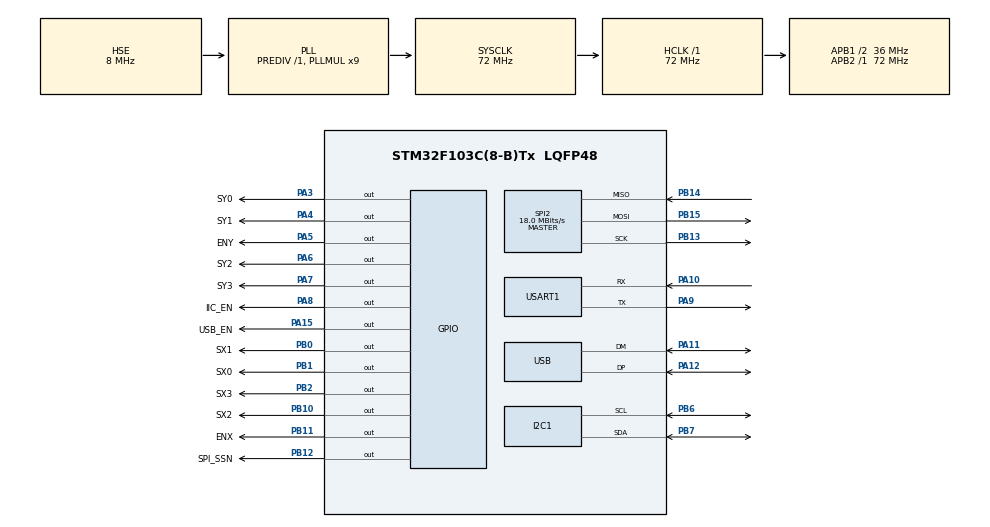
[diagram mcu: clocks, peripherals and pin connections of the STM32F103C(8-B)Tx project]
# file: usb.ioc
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Mcu.Family=STM32F1
Mcu.Name=STM32F103C(8-B)Tx
Mcu.Package=LQFP48
NVIC.PriorityGroup=NVIC_PRIORITYGROUP_4
NVIC.USB_LP_CAN1_RX0_IRQn=true\:0\:0\:false\:false\:true\:false\:true\:true
PA10.Mode=Asynchronous
PA10.Signal=USART1_RX
PA11.Mode=Device
PA11.Signal=USB_DM
PA12.Mode=Device
PA12.Signal=USB_DP
PA13.Mode=Serial_Wire
PA13.Signal=SYS_JTMS-SWDIO
PA14.Mode=Serial_Wire
PA14.Signal=SYS_JTCK-SWCLK
PA15.GPIO_Label=USB_EN
PA15.Signal=GPIO_Output
PA3.GPIO_Label=SY0
PA3.Signal=GPIO_Output
PA4.GPIO_Label=SY1
PA4.Signal=GPIO_Output
PA5.GPIO_Label=ENY
PA5.Signal=GPIO_Output
PA6.GPIO_Label=SY2
PA6.Signal=GPIO_Output
PA7.GPIO_Label=SY3
PA7.Signal=GPIO_Output
PA8.GPIO_Label=IIC_EN
PA8.Signal=GPIO_Output
PA9.Mode=Asynchronous
PA9.Signal=USART1_TX
PB0.GPIO_Label=SX1
PB0.Signal=GPIO_Output
PB1.GPIO_Label=SX0
PB1.Signal=GPIO_Output
PB10.GPIO_Label=SX2
PB10.Signal=GPIO_Output
PB11.GPIO_Label=ENX
PB11.Signal=GPIO_Output
PB12.GPIO_Label=SPI_SSN
PB12.Signal=GPIO_Output
PB13.Mode=Full_Duplex_Master
PB13.Signal=SPI2_SCK
PB14.Mode=Full_Duplex_Master
PB14.Signal=SPI2_MISO
PB15.Mode=Full_Duplex_Master
PB15.Signal=SPI2_MOSI
PB2.GPIO_Label=SX3
PB2.Signal=GPIO_Output
PB6.Mode=I2C
PB6.Signal=I2C1_SCL
PB7.Mode=I2C
PB7.Signal=I2C1_SDA
PD0-OSC_IN.Mode=HSE-External-Oscillator
PD0-OSC_IN.Signal=RCC_OSC_IN
PD1-OSC_OUT.Mode=HSE-External-Oscillator
PD1-OSC_OUT.Signal=RCC_OSC_OUT
ProjectManager.HeapSize=0x200
ProjectManager.StackSize=0x1000
ProjectManager.TargetToolchain=MDK-ARM V5
RCC.AHBFreq_Value=72000000
RCC.APB1CLKDivider=RCC_HCLK_DIV2
RCC.APB1Freq_Value=36000000
RCC.APB1TimFreq_Value=72000000
RCC.APB2Freq_Value=72000000
RCC.APB2TimFreq_Value=72000000
RCC.HCLKFreq_Value=72000000
RCC.PLLMUL=RCC_PLL_MUL9
RCC.SYSCLKFreq_VALUE=72000000
RCC.SYSCLKSource=RCC_SYSCLKSOURCE_PLLCLK
RCC.USBFreq_Value=48000000
RCC.USBPrescaler=RCC_USBCLKSOURCE_PLL_DIV1_5
SPI2.BaudRatePrescaler=SPI_BAUDRATEPRESCALER_2
SPI2.CLKPhase=SPI_PHASE_2EDGE
SPI2.CalculateBaudRate=18.0 MBits/s
SPI2.Direction=SPI_DIRECTION_2LINES
SPI2.Mode=SPI_MODE_MASTER
SPI2.VirtualType=VM_MASTER
TIM1.Channel-Output\ Compare1\ No\ Output=TIM_CHANNEL_1
USART1.VirtualMode=VM_ASYNC
USB_DEVICE.CLASS_NAME_FS=CDC
USB_DEVICE.VirtualMode=Cdc
USB_DEVICE.VirtualModeFS=Cdc_FS
VP_TIM1_VS_no_output1.Mode=Output Compare1 No Output
VP_USB_DEVICE_VS_USB_DEVICE_CDC_FS.Mode=CDC_FS
board=custom

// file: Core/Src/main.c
/* USER CODE BEGIN Header */
/**
  ******************************************************************************
  * @file           : main.c
  * @brief          : Main program body
  ******************************************************************************
  * @attention
  *
  * Copyright (c) 2025 STMicroelectronics.
  * All rights reserved.
  *
  * This software is licensed under terms that can be found in the LICENSE file
  * in the root directory of this software component.
  * If no LICENSE file comes with this software, it is provided AS-IS.
  *
  ******************************************************************************
  */
/* USER CODE END Header */
#include "main.h"
#include "i2c.h"
#include "spi.h"
#include "tim.h"
#include "usart.h"
#include "usb_device.h"
#include "gpio.h"

/* USER CODE BEGIN Includes */
#include "pcap04_spi.h"
#include "mux_control.h"
#include "matrix_scan.h"
#include "usbd_cdc_if.h"
#include "usb_command.h"
/* USER CODE END Includes */

/* USER CODE BEGIN PV */
/* PCap04 固件数据 (Standard Firmware - 548 bytes) */
uint8_t standard_fw[548] = {
  0x24, 0x05, 0xA0, 0x01, 0x20, 0x55, 0x42, 0x5C, 0x48, 0xB1, 0x07, 0x92, 0x02, 0x20, 0x13, 0x02,
  0x20, 0x93, 0x02, 0xB2, 0x02, 0x78, 0x20, 0x54, 0xB3, 0x06, 0x91, 0x00, 0x7F, 0x20, 0x86, 0x20,
  0x54, 0xB6, 0x03, 0x72, 0x62, 0x20, 0x54, 0xB7, 0x00, 0x00, 0x42, 0x5C, 0xA1, 0x00, 0x49, 0xB0,
  0x00, 0x49, 0x40, 0xAB, 0x5D, 0x92, 0x1C, 0x90, 0x02, 0x7F, 0x20, 0x86, 0x66, 0x67, 0x76, 0x77,
  0x66, 0x7A, 0xCF, 0xCD, 0xE6, 0x43, 0xF1, 0x44, 0x29, 0xE0, 0x7A, 0xDC, 0xE7, 0x41, 0x32, 0xAA,
  0x01, 0x99, 0xFD, 0x7B, 0x01, 0x7A, 0xCF, 0xEB, 0xE6, 0x43, 0xF1, 0x44, 0x29, 0xE0, 0x7A, 0xC1,
  0xE7, 0x41, 0x32, 0x6A, 0xDE, 0x44, 0x7A, 0xCF, 0xEA, 0xE6, 0x43, 0xF1, 0x44, 0x29, 0xE0, 0x6A,
  0xDF, 0x44, 0x7A, 0xC4, 0xE7, 0x41, 0x32, 0xAB, 0x05, 0x7A, 0xC1, 0xE1, 0x43, 0xE0, 0x3A, 0x7A,
  0xC0, 0xE1, 0x43, 0xE0, 0x3A, 0x02, 0x7A, 0xCF, 0xE6, 0xE6, 0x43, 0xF1, 0x44, 0x29, 0xE0, 0x7A,
  0xEF, 0x44, 0x02, 0x20, 0x9D, 0x84, 0x01, 0x21, 0x2E, 0x21, 0x74, 0x20, 0x37, 0xC8, 0x7A, 0xE7,
  0x43, 0x49, 0x11, 0x6A, 0xD4, 0x44, 0x7A, 0xC1, 0xD8, 0xE6, 0x43, 0xE9, 0x44, 0x1C, 0x43, 0x13,
  0xAB, 0x63, 0x6A, 0xDE, 0x41, 0xAB, 0x0B, 0x46, 0x46, 0x46, 0x7A, 0xDF, 0xFF, 0xFF, 0xFF, 0xFF,
  0xE3, 0x41, 0x32, 0x1C, 0x44, 0xE9, 0x13, 0x6A, 0xD4, 0x13, 0x41, 0xAA, 0xDF, 0x7A, 0xC5, 0xE1,
  0x43, 0x49, 0xE0, 0x34, 0x7A, 0xCF, 0xE3, 0xE6, 0x43, 0xF1, 0x44, 0x29, 0xE0, 0xDB, 0xC0, 0x27,
  0xE5, 0x6A, 0xDF, 0x43, 0x7A, 0xC8, 0xE7, 0x41, 0x30, 0xAB, 0x03, 0x86, 0x01, 0x92, 0x37, 0x7A,
  0xC6, 0xE7, 0x41, 0x7A, 0xFA, 0xE7, 0x43, 0xEA, 0x44, 0x7A, 0xC1, 0xE1, 0xE6, 0x43, 0xE9, 0x44,
  0x25, 0xE0, 0x7A, 0xC6, 0xE7, 0x41, 0x7A, 0xFA, 0xE7, 0x43, 0xEA, 0x44, 0x7A, 0xC0, 0xE7, 0x43,
  0xE9, 0x44, 0x25, 0xE0, 0x92, 0x10, 0x7A, 0xE1, 0x44, 0xE2, 0x44, 0xE3, 0x44, 0xE4, 0x44, 0xE5,
  0x44, 0xE6, 0x44, 0xE7, 0x44, 0xE8, 0x44, 0xC1, 0xD8, 0x24, 0x3E, 0x92, 0xFF, 0x02, 0x7A, 0xCF,
  0xD7, 0xE6, 0x43, 0xF1, 0x44, 0x7A, 0xD0, 0xE7, 0x43, 0x2A, 0x2A, 0x32, 0xAB, 0x03, 0x42, 0x5C,
  0x92, 0x03, 0x7A, 0xC0, 0xE1, 0x43, 0xD9, 0x27, 0x90, 0x6A, 0xDF, 0x43, 0x7A, 0xC8, 0xE7, 0x41,
  0x32, 0xAB, 0x03, 0x86, 0x01, 0x92, 0x11, 0x7A, 0xC2, 0x43, 0x7A, 0xE7, 0x44, 0x6A, 0xC6, 0x44,
  0x7A, 0xC3, 0x43, 0x7A, 0xE8, 0x44, 0x6A, 0xC7, 0x44, 0xC1, 0xD4, 0x24, 0x57, 0x7A, 0xC8, 0xE1,
  0x43, 0xE0, 0x3A, 0x02, 0x7A, 0xCF, 0xE7, 0xE6, 0x43, 0xF1, 0x44, 0x29, 0xE0, 0x7A, 0xC7, 0xE1,
  0x41, 0x6A, 0xD4, 0x45, 0x5A, 0x25, 0x36, 0x46, 0x46, 0x46, 0x46, 0x7A, 0xE9, 0x44, 0x7A, 0xC0,
  0xE7, 0x43, 0x55, 0x7A, 0xEA, 0x45, 0x7A, 0xE9, 0x51, 0x1C, 0x43, 0x6A, 0xCA, 0x44, 0x1D, 0x43,
  0x6A, 0xCB, 0x44, 0x7A, 0xC1, 0xCA, 0xE6, 0x43, 0xE9, 0x44, 0x7A, 0xC1, 0xE1, 0x43, 0x7A, 0xCC,
  0xE0, 0xE6, 0x41, 0x2C, 0x42, 0x7A, 0xC5, 0xE1, 0x43, 0x49, 0xE0, 0x34, 0x7A, 0xC1, 0xCC, 0xE6,
  0x43, 0xE9, 0x44, 0x7A, 0xC1, 0xE1, 0x43, 0x2C, 0x70, 0x7A, 0xCC, 0x43, 0x7A, 0xCF, 0x44, 0x7A,
  0xCD, 0x43, 0x7A, 0xCE, 0x44, 0x6A, 0xCA, 0x43, 0xC1, 0xCA, 0x7A, 0xE6, 0x41, 0xE9, 0x45, 0x2B,
  0xAE, 0xEE, 0x44, 0x7A, 0xC1, 0xCA, 0xE6, 0x43, 0xE9, 0x44, 0x7A, 0xC1, 0xE1, 0x43, 0x7A, 0xCC,
  0xEC, 0xE6, 0x41, 0x2C, 0x42, 0x7A, 0xC5, 0xE1, 0x43, 0x49, 0xE0, 0x34, 0x7A, 0xC1, 0xCC, 0xE6,
  0x43, 0xE9, 0x44, 0x7A, 0xC1, 0xE1, 0x43, 0x2C, 0x70, 0x7A, 0xCC, 0x43, 0x7A, 0xCF, 0x44, 0x7A,
  0xCD, 0x43, 0x7A, 0xCE, 0x44, 0x6A, 0xCB, 0x43, 0xC1, 0xCA, 0x7A, 0xE6, 0x41, 0xE9, 0x45, 0x2B,
  0xAE, 0xED, 0x44, 0x02
};

/* PCap04 配置数据 (Standard Configuration - 52 bytes) */
uint8_t standard_cfg_bytewise[52] = {
  0x1D, 0x00, 0x58, 0x10,
  0x10, 0x00, 0x0F, 0x20,
  0x00, 0xD0, 0x07, 0x00,
  0x00, 0x08, 0xFF, 0x03,
  0x00, 0x24, 0x00, 0x00,
  0x00, 0x01, 0x50, 0x30,
  0x73, 0x04, 0x50, 0x08,
  0x5A, 0x00, 0x82, 0x08,
  0x08, 0x00, 0x47, 0x40,
  0x00, 0x00, 0x00, 0x71,
  0x00, 0x00, 0x08, 0x00,
  0x00, 0x00, 0x00, 0x01,
  0x00, 0x00, 0x00, 0x00
};

/* 矩阵数据 */
MatrixData_t matrix_data;
HAL_StatusTypeDef ret;

/* USER CODE END PV */

void SystemClock_Config(void);

int main(void)
{

  /* MCU Configuration--------------------------------------------------------*/

  /* Reset of all peripherals, Initializes the Flash interface and the Systick. */
  HAL_Init();

  /* Configure the system clock */
  SystemClock_Config();

  /* Initialize all configured peripherals */
  MX_GPIO_Init();
  MX_USB_DEVICE_Init();
  MX_I2C1_Init();
  MX_SPI2_Init();
  MX_USART1_UART_Init();
  MX_TIM1_Init();
  /* USER CODE BEGIN 2 */

  /* 配置IIC_EN引脚：根据USE_I2C_MODE宏自动设置 */
#if PCAP04_COMM_MODE_I2C
  PCap04_Set_IIC_EN(1);  /* I2C模式：高电平使能 */
#else
  PCap04_Set_IIC_EN(0);  /* SPI模式：低电平使能 */
#endif

  /* 等待USB连接 */
  HAL_Delay(1000);

  /* 初始化多路复用器 */
  Matrix_Scan_Init();

  /* PCap04 初始化序列 */
  /* 1. Power-On Reset (POR) */
  Write_Opcode(POR);
  HAL_Delay(500);

  /* 2. Initialize (INIT) */
  Write_Opcode(INIT);
  HAL_Delay(100);

  /* 3. 写入固件 */
  ret = PCap04_Memory_Access(WR_MEM, 0x00, standard_fw, 548);
  if(ret != HAL_OK) {
    /* 错误处理 */
  }
  HAL_Delay(100);

  /* 4. 写入配置 */
  ret = PCap04_Config_Access(WR_CONFIG, 0x00, standard_cfg_bytewise, 52);
  if(ret != HAL_OK) {
    /* 错误处理 */
  }
  HAL_Delay(100);

  /* 5. 再次初始化 */
  Write_Opcode(INIT);
  HAL_Delay(100);

  /* 初始化USB命令处理 */
  USB_Command_Init();

#if (USE_SIMULATION_MODE != 0)
  /* 初始化随机数生成器（用于模拟PCap04数据） */
  PCap04_Random_Init();

  /* USB输出初始化完成信息 */
  {
    uint8_t msg[] = "PCap04 Initialization Complete!\r\n"
                    "16x16 Matrix Scan Ready...\r\n"
                    "Note: Running in SIMULATION MODE (random data generation)\r\n"
                    "Type 'HELP' or '?' for available commands.\r\n\r\n";
    CDC_Transmit_FS(msg, sizeof(msg)-1);
    HAL_Delay(100);
  }
#else
  /* USB输出初始化完成信息 */
  {
    uint8_t msg[] = "PCap04 Initialization Complete!\r\n"
                    "16x16 Matrix Scan Ready...\r\n"
                    "Running in REAL MODE (SPI data acquisition)\r\n"
                    "Type 'HELP' or '?' for available commands.\r\n\r\n";
    CDC_Transmit_FS(msg, sizeof(msg)-1);
    HAL_Delay(100);
  }
#endif

  /* USER CODE END 2 */

  /* Infinite loop */
  /* USER CODE BEGIN WHILE */
  while (1)
  {
    static uint8_t session_open = 0;
    static uint32_t last_scan_ms = 0;
    static uint8_t scanning_in_progress = 0;

    /* 会话开始/结束标志管理（会话级别，由Matrix_Scan_And_Stream内部管理的START/END是数据级别的） */
    /* 注意：Matrix_Scan_And_Stream内部已经管理每次扫描的START/END，这里只管理会话状态 */
    if(g_stream_enabled && session_open == 0) {
      session_open = 1;
    } else if(!g_stream_enabled && session_open == 1) {
      session_open = 0;
    }

    /* 未启用流式传输则不传输 */
    if(!g_stream_enabled) {
      HAL_Delay(10);
      continue;
    }

    /* 根据工作模式执行扫描（非阻塞调度） */
    switch(g_work_mode) {
      case MODE_NORMAL:
        /* 普通模式：按设置速率循环扫描（非阻塞基于系统节拍） */
        if(!scanning_in_progress && (HAL_GetTick() - last_scan_ms >= g_scan_delay_ms)) {
          scanning_in_progress = 1;
          Matrix_Scan_And_Stream(&matrix_data);  /* 函数内部等待USB发送完成 */
          scanning_in_progress = 0;
          last_scan_ms = HAL_GetTick();
        }
        break;

      case MODE_FAST:
        /* 快速模式：尽可能快地扫描（避免阻塞延时） */
        if(!scanning_in_progress) {
          scanning_in_progress = 1;
          Matrix_Scan_And_Stream(&matrix_data);
          scanning_in_progress = 0;
        }
        break;

      case MODE_SINGLE:
        /* 单次模式：只扫描一次后停止；Matrix_Scan_And_Stream内部已经管理START/END */
        Matrix_Scan_And_Stream(&matrix_data);
        g_work_mode = MODE_STOP;  /* 扫描完成后停止 */
        g_stream_enabled = 0;      /* 禁用流式传输 */
        break;

      case MODE_STOP:
      default:
        /* 停止模式：不扫描，等待命令 */
        HAL_Delay(10);
        break;
    }
    /* USER CODE END WHILE */

  }
}

void SystemClock_Config(void)
{
  RCC_OscInitTypeDef RCC_OscInitStruct = {0};
  RCC_ClkInitTypeDef RCC_ClkInitStruct = {0};
  RCC_PeriphCLKInitTypeDef PeriphClkInit = {0};

  /** Initializes the RCC Oscillators according to the specified parameters
  * in the RCC_OscInitTypeDef structure.
  */
  RCC_OscInitStruct.OscillatorType = RCC_OSCILLATORTYPE_HSE;
  RCC_OscInitStruct.HSEState = RCC_HSE_ON;
  RCC_OscInitStruct.HSEPredivValue = RCC_HSE_PREDIV_DIV1;
  RCC_OscInitStruct.HSIState = RCC_HSI_ON;
  RCC_OscInitStruct.PLL.PLLState = RCC_PLL_ON;
  RCC_OscInitStruct.PLL.PLLSource = RCC_PLLSOURCE_HSE;
  RCC_OscInitStruct.PLL.PLLMUL = RCC_PLL_MUL9;
  if (HAL_RCC_OscConfig(&RCC_OscInitStruct) != HAL_OK)
  {
    Error_Handler();
  }

  /** Initializes the CPU, AHB and APB buses clocks
  */
  RCC_ClkInitStruct.ClockType = RCC_CLOCKTYPE_HCLK|RCC_CLOCKTYPE_SYSCLK
                              |RCC_CLOCKTYPE_PCLK1|RCC_CLOCKTYPE_PCLK2;
  RCC_ClkInitStruct.SYSCLKSource = RCC_SYSCLKSOURCE_PLLCLK;
  RCC_ClkInitStruct.AHBCLKDivider = RCC_SYSCLK_DIV1;
  RCC_ClkInitStruct.APB1CLKDivider = RCC_HCLK_DIV2;
  RCC_ClkInitStruct.APB2CLKDivider = RCC_HCLK_DIV1;

  if (HAL_RCC_ClockConfig(&RCC_ClkInitStruct, FLASH_LATENCY_2) != HAL_OK)
  {
    Error_Handler();
  }
  PeriphClkInit.PeriphClockSelection = RCC_PERIPHCLK_USB;
  PeriphClkInit.UsbClockSelection = RCC_USBCLKSOURCE_PLL_DIV1_5;
  if (HAL_RCCEx_PeriphCLKConfig(&PeriphClkInit) != HAL_OK)
  {
    Error_Handler();
  }
}

void Error_Handler(void)
{
  __disable_irq();
  while (1)
  {
  }
}
